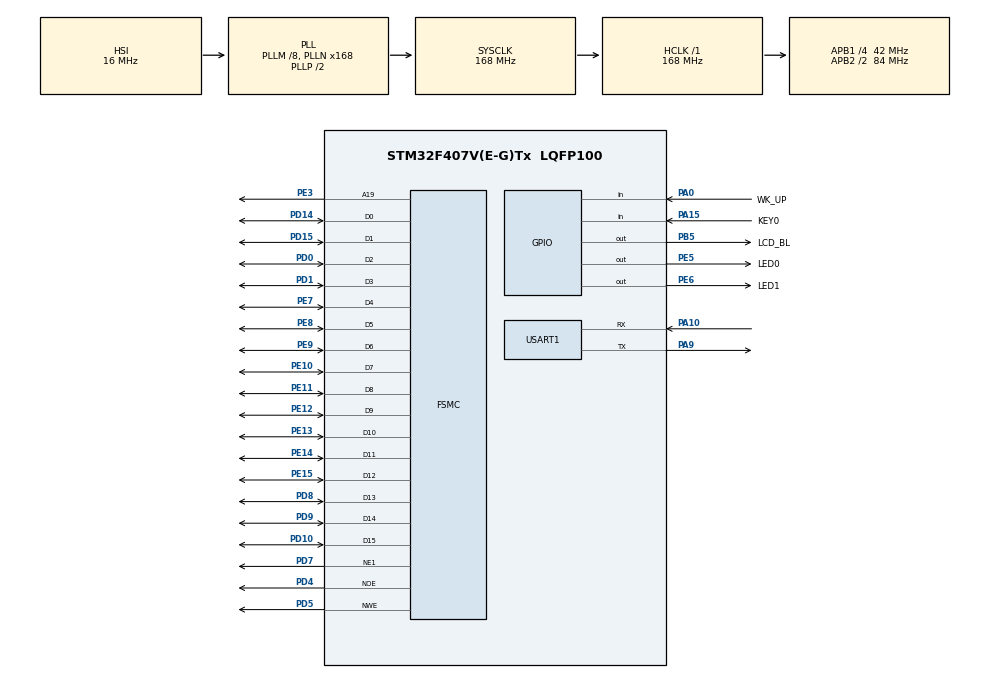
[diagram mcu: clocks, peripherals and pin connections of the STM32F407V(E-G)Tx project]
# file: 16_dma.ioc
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Dma.Request0=USART1_TX
Dma.USART1_TX.0.Direction=DMA_MEMORY_TO_PERIPH
Dma.USART1_TX.0.FIFOMode=DMA_FIFOMODE_DISABLE
Dma.USART1_TX.0.Instance=DMA2_Stream7
Dma.USART1_TX.0.MemDataAlignment=DMA_MDATAALIGN_BYTE
Dma.USART1_TX.0.MemInc=DMA_MINC_ENABLE
Dma.USART1_TX.0.Mode=DMA_NORMAL
Dma.USART1_TX.0.PeriphDataAlignment=DMA_PDATAALIGN_BYTE
Dma.USART1_TX.0.PeriphInc=DMA_PINC_DISABLE
Dma.USART1_TX.0.Priority=DMA_PRIORITY_MEDIUM
FSMC.AddressSetupTime1=15
FSMC.BusTurnAroundDuration1=0
FSMC.DataSetupTime1=60
FSMC.ExtendedAddressSetupTime1=9
FSMC.ExtendedDataSetupTime1=9
FSMC.ExtendedMode1=FSMC_EXTENDED_MODE_ENABLE
Mcu.Family=STM32F4
Mcu.Name=STM32F407V(E-G)Tx
Mcu.Package=LQFP100
NVIC.DMA2_Stream7_IRQn=true\:0\:0\:false\:false\:true\:false\:true\:true
NVIC.PriorityGroup=NVIC_PRIORITYGROUP_2
NVIC.USART1_IRQn=true\:2\:2\:true\:false\:true\:true\:true\:true
PA0-WKUP.GPIO_Label=WK_UP
PA0-WKUP.GPIO_PuPd=GPIO_PULLDOWN
PA0-WKUP.Signal=GPIO_Input
PA10.Mode=Asynchronous
PA10.Signal=USART1_RX
PA13.Mode=Serial_Wire
PA13.Signal=SYS_JTMS-SWDIO
PA14.Mode=Serial_Wire
PA14.Signal=SYS_JTCK-SWCLK
PA15.GPIO_Label=KEY0
PA15.GPIO_PuPd=GPIO_PULLDOWN
PA15.Signal=GPIO_Input
PA9.Mode=Asynchronous
PA9.Signal=USART1_TX
PB5.GPIO_Label=LCD_BL
PB5.GPIO_PuPd=GPIO_PULLUP
PB5.GPIO_Speed=GPIO_SPEED_FREQ_HIGH
PB5.PinState=GPIO_PIN_SET
PB5.Signal=GPIO_Output
PC14-OSC32_IN.Mode=LSE-External-Oscillator
PC14-OSC32_IN.Signal=RCC_OSC32_IN
PC15-OSC32_OUT.Mode=LSE-External-Oscillator
PC15-OSC32_OUT.Signal=RCC_OSC32_OUT
PD0.Mode=16b-d1
PD0.Signal=FSMC_D2
PD1.Mode=16b-d1
PD1.Signal=FSMC_D3
PD10.Mode=16b-d1
PD10.Signal=FSMC_D15
PD14.Mode=16b-d1
PD14.Signal=FSMC_D0
PD15.Mode=16b-d1
PD15.Signal=FSMC_D1
PD4.Mode=Lcd1
PD4.Signal=FSMC_NOE
PD5.Mode=Lcd1
PD5.Signal=FSMC_NWE
PD7.Mode=NorPsramChipSelect1_1
PD7.Signal=FSMC_NE1
PD8.Mode=16b-d1
PD8.Signal=FSMC_D13
PD9.Mode=16b-d1
PD9.Signal=FSMC_D14
PE10.Mode=16b-d1
PE10.Signal=FSMC_D7
PE11.Mode=16b-d1
PE11.Signal=FSMC_D8
PE12.Mode=16b-d1
PE12.Signal=FSMC_D9
PE13.Mode=16b-d1
PE13.Signal=FSMC_D10
PE14.Mode=16b-d1
PE14.Signal=FSMC_D11
PE15.Mode=16b-d1
PE15.Signal=FSMC_D12
PE3.Mode=A19_1
PE3.Signal=FSMC_A19
PE5.GPIO_Label=LED0
PE5.GPIO_PuPd=GPIO_PULLUP
PE5.GPIO_Speed=GPIO_SPEED_FREQ_HIGH
PE5.PinState=GPIO_PIN_SET
PE5.Signal=GPIO_Output
PE6.GPIO_Label=LED1
PE6.GPIO_PuPd=GPIO_PULLUP
PE6.GPIO_Speed=GPIO_SPEED_FREQ_HIGH
PE6.PinState=GPIO_PIN_SET
PE6.Signal=GPIO_Output
PE7.Mode=16b-d1
PE7.Signal=FSMC_D4
PE8.Mode=16b-d1
PE8.Signal=FSMC_D5
PE9.Mode=16b-d1
PE9.Signal=FSMC_D6
PH0-OSC_IN.Mode=HSE-External-Oscillator
PH0-OSC_IN.Signal=RCC_OSC_IN
PH1-OSC_OUT.Mode=HSE-External-Oscillator
PH1-OSC_OUT.Signal=RCC_OSC_OUT
ProjectManager.HeapSize=0x200
ProjectManager.StackSize=0x400
ProjectManager.TargetToolchain=STM32CubeIDE
RCC.48MHZClocksFreq_Value=84000000
RCC.AHBFreq_Value=168000000
RCC.APB1CLKDivider=RCC_HCLK_DIV4
RCC.APB1Freq_Value=42000000
RCC.APB1TimFreq_Value=84000000
RCC.APB2CLKDivider=RCC_HCLK_DIV2
RCC.APB2Freq_Value=84000000
RCC.APB2TimFreq_Value=168000000
RCC.CortexFreq_Value=168000000
RCC.HCLKFreq_Value=168000000
RCC.HSE_VALUE=25000000
RCC.HSI_VALUE=16000000
RCC.PLLM=8
RCC.PLLN=168
RCC.SYSCLKFreq_VALUE=168000000
RCC.SYSCLKSource=RCC_SYSCLKSOURCE_PLLCLK
RCC.VCOOutputFreq_Value=336000000
USART1.VirtualMode=VM_ASYNC
board=custom

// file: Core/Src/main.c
/**
 ****************************************************************************************************
 * @file        main.c
 * @author      ALIENTEK
 * @brief       dma code
 * @license     Copyright (C) 2012-2024, ALIENTEK
 ****************************************************************************************************
 * @attention
 *
 * platform     : ALIENTEK M100-STM32F407 board
 * website      : www.alientek.com
 * forum        : www.openedv.com/forum.php
 *
 * change logs  :
 * version      data         notes
 * V1.0         20240409     the first version
 *
 ****************************************************************************************************
 */

 /* USER CODE BEGIN Header */

/* USER CODE END Header */
#include "main.h"
#include "dma.h"
#include "usart.h"
#include "gpio.h"
#include "fsmc.h"

/* USER CODE BEGIN Includes */
#include "../../BSP/LED/led.h"
#include "../../BSP/KEY/key.h"
#include "../../BSP/LCD/lcd.h"
/* USER CODE END Includes */

/* USER CODE BEGIN PD */
/**
 * @brief   Displays information about the experiment
 * @param   None
 * @retval  None
 */
void stm32f407vg_show_mesg(void)
{
	/* The serial port outputs the experimental information */
	printf("\n");
	printf("********************************\r\n");
	printf("STM32F407\r\n");
	printf("DMA Test\r\n");
    printf("KEY0:Start\r\n");
	printf("ATOM@ALIENTEK\r\n");
	printf("********************************\r\n");
	printf("\r\n");
}
/* USER CODE END PD */

void SystemClock_Config(void);
/* USER CODE BEGIN PFP */
uint8_t temp[] = {"Hello, M100Z-M4 STM32F407!\r\n"};

#define SEND_BUF_SIZE     (sizeof(temp) * 200)

uint8_t g_sendbuf[SEND_BUF_SIZE];

uint8_t uart_ready = 1;
extern DMA_HandleTypeDef hdma_usart1_tx;
/* USER CODE END PFP */

/* USER CODE BEGIN 0 */
/**
 * @brief  HAL library UART transfer completion callback function
 * @param  None
 * @retval None
 */
void HAL_UART_TxCpltCallback(UART_HandleTypeDef *huart)
{
    /* The mark transmission is completed and the next transmission can be carried out */
    uart_ready = 1;
}
/* USER CODE END 0 */

int main(void)
{
  /* USER CODE BEGIN 1 */
  uint8_t t = 0;
  uint8_t key;
  uint16_t len;
  uint16_t buf_index;
  uint8_t temp_index;
  float pro = 0;          /* rate of progress */
  /* USER CODE END 1 */

  /* MCU Configuration--------------------------------------------------------*/

  /* Reset of all peripherals, Initializes the Flash interface and the Systick. */
  HAL_Init();

  /* Configure the system clock */
  SystemClock_Config();

  /* Initialize all configured peripherals */
  MX_GPIO_Init();
  MX_DMA_Init();
  MX_USART1_UART_Init();
  MX_FSMC_Init();
  /* USER CODE BEGIN 2 */
  lcd_init();                                         /* Initialize LCD */
  stm32f407vg_show_mesg();
  lcd_show_string(30, 50, 200, 16, 16, "STM32", RED);
  lcd_show_string(30, 70, 200, 16, 16, "DMA TEST", RED);
  lcd_show_string(30, 90, 200, 16, 16, "ATOM@ALIENTEK", RED);
  lcd_show_string(30, 110, 200, 16, 16, "KEY0:Start", RED);

  for (buf_index=0; buf_index<200; buf_index++)
  {
     for (temp_index=0; temp_index<sizeof(temp); temp_index++)
     {
    	 g_sendbuf[buf_index*sizeof(temp) + temp_index] = temp[temp_index];
     }
  }
  /* USER CODE END 2 */

  /* Infinite loop */
  /* USER CODE BEGIN WHILE */
  while (1)
  {
	  key = key_scan(0);

	  if (key == KEY0_PRES)       /* press KEY0 */
	  {
	  	  printf("\r\nDMA DATA:\r\n");
	  	  lcd_show_string(30, 130, 200, 16, 16, "Start Transimit....", BLUE);
	  	  lcd_show_string(30, 150, 200, 16, 16, "   %", BLUE);    /* Display percent sign */

	  	  HAL_UART_Transmit_DMA(&huart1, g_sendbuf, SEND_BUF_SIZE);

	  	  while (1)
	  	  {

	  		  if (uart_ready == 1)
	  		  {
	  		     uart_ready = 0;
	  		     break;
	  		  }

	  		  pro = __HAL_DMA_GET_COUNTER(&hdma_usart1_tx);
	  		  len = SEND_BUF_SIZE;        /* total length */
	  		  pro = 1 - (pro / len);      /* get the percentage */
	  		  pro *= 100;                 /* 100 times larger */
	  		  lcd_show_num(30, 150, pro, 3, 16, BLUE);
	  	  }
	  	  lcd_show_num(30, 150, 100, 3, 16, BLUE);    /* Display 100% */
	  	  lcd_show_string(30, 130, 200, 16, 16, "Transimit Finished!", BLUE); /* Prompt transmission completed */
	 }

	 t++;
	 HAL_Delay(10);

	 if (t == 20)
	 {
	    LED0_TOGGLE();  /* flashing LED0 indicates that the system is running */
	    t = 0;
	 }
    /* USER CODE END WHILE */

  }
}

void SystemClock_Config(void)
{
  RCC_OscInitTypeDef RCC_OscInitStruct = {0};
  RCC_ClkInitTypeDef RCC_ClkInitStruct = {0};

  /** Configure the main internal regulator output voltage
  */
  __HAL_RCC_PWR_CLK_ENABLE();
  __HAL_PWR_VOLTAGESCALING_CONFIG(PWR_REGULATOR_VOLTAGE_SCALE1);

  /** Initializes the RCC Oscillators according to the specified parameters
  * in the RCC_OscInitTypeDef structure.
  */
  RCC_OscInitStruct.OscillatorType = RCC_OSCILLATORTYPE_HSI;
  RCC_OscInitStruct.HSIState = RCC_HSI_ON;
  RCC_OscInitStruct.HSICalibrationValue = RCC_HSICALIBRATION_DEFAULT;
  RCC_OscInitStruct.PLL.PLLState = RCC_PLL_ON;
  RCC_OscInitStruct.PLL.PLLSource = RCC_PLLSOURCE_HSI;
  RCC_OscInitStruct.PLL.PLLM = 8;
  RCC_OscInitStruct.PLL.PLLN = 168;
  RCC_OscInitStruct.PLL.PLLP = RCC_PLLP_DIV2;
  RCC_OscInitStruct.PLL.PLLQ = 4;
  if (HAL_RCC_OscConfig(&RCC_OscInitStruct) != HAL_OK)
  {
    Error_Handler();
  }

  /** Initializes the CPU, AHB and APB buses clocks
  */
  RCC_ClkInitStruct.ClockType = RCC_CLOCKTYPE_HCLK|RCC_CLOCKTYPE_SYSCLK
                              |RCC_CLOCKTYPE_PCLK1|RCC_CLOCKTYPE_PCLK2;
  RCC_ClkInitStruct.SYSCLKSource = RCC_SYSCLKSOURCE_PLLCLK;
  RCC_ClkInitStruct.AHBCLKDivider = RCC_SYSCLK_DIV1;
  RCC_ClkInitStruct.APB1CLKDivider = RCC_HCLK_DIV4;
  RCC_ClkInitStruct.APB2CLKDivider = RCC_HCLK_DIV2;

  if (HAL_RCC_ClockConfig(&RCC_ClkInitStruct, FLASH_LATENCY_5) != HAL_OK)
  {
    Error_Handler();
  }
}

void Error_Handler(void)
{
  __disable_irq();
  while (1)
  {
  }
}
